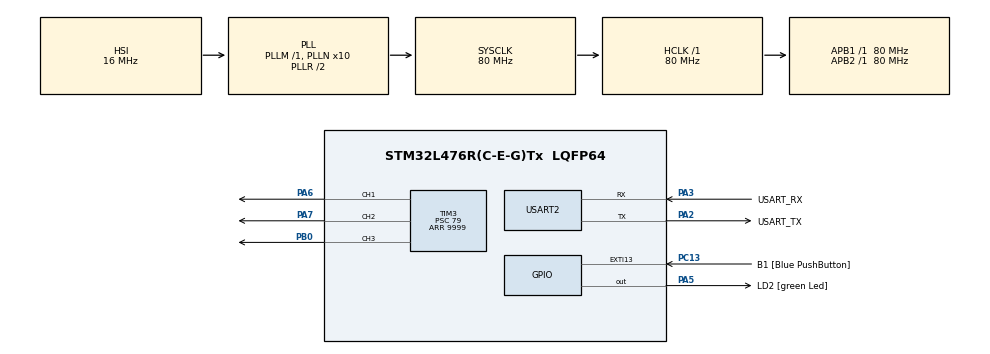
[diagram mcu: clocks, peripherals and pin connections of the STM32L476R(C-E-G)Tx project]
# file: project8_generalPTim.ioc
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Mcu.Family=STM32L4
Mcu.Name=STM32L476R(C-E-G)Tx
Mcu.Package=LQFP64
NVIC.PriorityGroup=NVIC_PRIORITYGROUP_4
NVIC.TIM3_IRQn=true\:9\:0\:true\:false\:true\:true\:true\:true
PA13\ (JTMS-SWDIO).GPIO_Label=TMS
PA13\ (JTMS-SWDIO).Mode=Serial_Wire
PA13\ (JTMS-SWDIO).Signal=SYS_JTMS-SWDIO
PA14\ (JTCK-SWCLK).GPIO_Label=TCK
PA14\ (JTCK-SWCLK).Mode=Serial_Wire
PA14\ (JTCK-SWCLK).Signal=SYS_JTCK-SWCLK
PA2.GPIO_Label=USART_TX
PA2.GPIO_Mode=GPIO_MODE_AF_PP
PA2.GPIO_PuPd=GPIO_NOPULL
PA2.GPIO_Speed=GPIO_SPEED_FREQ_VERY_HIGH
PA2.Mode=Asynchronous
PA2.Signal=USART2_TX
PA3.GPIO_Label=USART_RX
PA3.GPIO_Mode=GPIO_MODE_AF_PP
PA3.GPIO_PuPd=GPIO_NOPULL
PA3.GPIO_Speed=GPIO_SPEED_FREQ_VERY_HIGH
PA3.Mode=Asynchronous
PA3.Signal=USART2_RX
PA5.GPIO_Label=LD2 [green Led]
PA5.GPIO_ModeDefaultOutputPP=GPIO_MODE_OUTPUT_PP
PA5.GPIO_PuPd=GPIO_NOPULL
PA5.GPIO_Speed=GPIO_SPEED_FREQ_LOW
PA5.Signal=GPIO_Output
PA6.Signal=S_TIM3_CH1
PA7.Signal=S_TIM3_CH2
PB0.Signal=S_TIM3_CH3
PB3\ (JTDO-TRACESWO).GPIO_Label=SWO
PB3\ (JTDO-TRACESWO).Signal=SYS_JTDO-SWO
PC13.GPIO_Label=B1 [Blue PushButton]
PC13.GPIO_ModeDefaultEXTI=GPIO_MODE_IT_FALLING
PC13.GPIO_PuPd=GPIO_NOPULL
PC13.Signal=GPXTI13
PC14-OSC32_IN\ (PC14).Mode=LSE-External-Oscillator
PC14-OSC32_IN\ (PC14).Signal=RCC_OSC32_IN
PC15-OSC32_OUT\ (PC15).Mode=LSE-External-Oscillator
PC15-OSC32_OUT\ (PC15).Signal=RCC_OSC32_OUT
PH0-OSC_IN\ (PH0).Signal=RCC_OSC_IN
PH1-OSC_OUT\ (PH1).Signal=RCC_OSC_OUT
ProjectManager.HeapSize=0x200
ProjectManager.StackSize=0x400
ProjectManager.TargetToolchain=STM32CubeIDE
RCC.ADCFreq_Value=64000000
RCC.AHBFreq_Value=80000000
RCC.APB1Freq_Value=80000000
RCC.APB1TimFreq_Value=80000000
RCC.APB2Freq_Value=80000000
RCC.APB2TimFreq_Value=80000000
RCC.CortexFreq_Value=80000000
RCC.HCLKFreq_Value=80000000
RCC.HSE_VALUE=8000000
RCC.HSI_VALUE=16000000
RCC.MSI_VALUE=4000000
RCC.PLLN=10
RCC.PLLSourceVirtual=RCC_PLLSOURCE_HSI
RCC.PREFETCH_ENABLE=1
RCC.SYSCLKFreq_VALUE=80000000
RCC.SYSCLKSource=RCC_SYSCLKSOURCE_PLLCLK
RCC.USBFreq_Value=64000000
RCC.VCOOutputFreq_Value=160000000
SH.S_TIM3_CH1.0=TIM3_CH1,PWM Generation1 CH1
SH.S_TIM3_CH2.0=TIM3_CH2,PWM Generation2 CH2
SH.S_TIM3_CH3.0=TIM3_CH3,PWM Generation3 CH3
TIM3.Channel-PWM\ Generation1\ CH1=TIM_CHANNEL_1
TIM3.Channel-PWM\ Generation2\ CH2=TIM_CHANNEL_2
TIM3.Channel-PWM\ Generation3\ CH3=TIM_CHANNEL_3
TIM3.OCPolarity_1=TIM_OCPOLARITY_LOW
TIM3.OCPolarity_2=TIM_OCPOLARITY_LOW
TIM3.OCPolarity_3=TIM_OCPOLARITY_LOW
TIM3.Period=9999
TIM3.Prescaler=79
TIM3.Pulse-PWM\ Generation1\ CH1=50
TIM3.Pulse-PWM\ Generation2\ CH2=400
TIM3.Pulse-PWM\ Generation3\ CH3=2000
USART2.VirtualMode-Asynchronous=VM_ASYNC
VP_TIM3_VS_ClockSourceINT.Mode=Internal
board=NUCLEO-L476RG

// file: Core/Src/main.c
/* USER CODE BEGIN Header */
/**
  ******************************************************************************
  * @file           : main.c
  * @brief          : Main program body
  ******************************************************************************
  * @attention
  *
  * Copyright (c) 2024 STMicroelectronics.
  * All rights reserved.
  *
  * This software is licensed under terms that can be found in the LICENSE file
  * in the root directory of this software component.
  * If no LICENSE file comes with this software, it is provided AS-IS.
  *
  ******************************************************************************
  */
/* USER CODE END Header */
#include "main.h"

/* USER CODE BEGIN Includes */
#include "math.h"
/* USER CODE END Includes */

TIM_HandleTypeDef htim3;

UART_HandleTypeDef huart2;

void SystemClock_Config(void);
static void MX_GPIO_Init(void);
static void MX_USART2_UART_Init(void);
static void MX_TIM3_Init(void);

/* USER CODE BEGIN 0 */
float calc_pwm(float val)
{
    const float k = 0.13f;
    const float x0 = 70.0f;
    return 10000.0f / (1.0f + exp(-k * (val - x0)));
}

void HAL_TIM_PeriodElapsedCallback(TIM_HandleTypeDef *htim)
{
  if (htim == &htim3) {
    HAL_GPIO_TogglePin(LD2_GPIO_Port, LD2_Pin);
  }
}
/* USER CODE END 0 */

int main(void)
{

  /* MCU Configuration--------------------------------------------------------*/

  /* Reset of all peripherals, Initializes the Flash interface and the Systick. */
  HAL_Init();

  /* Configure the system clock */
  SystemClock_Config();

  /* Initialize all configured peripherals */
  MX_GPIO_Init();
  MX_USART2_UART_Init();
  MX_TIM3_Init();
  /* USER CODE BEGIN 2 */
  HAL_TIM_Base_Start_IT(&htim3);
  HAL_TIM_PWM_Start(&htim3, TIM_CHANNEL_1);
  HAL_TIM_PWM_Start(&htim3, TIM_CHANNEL_2);
  HAL_TIM_PWM_Start(&htim3, TIM_CHANNEL_3);
  /* USER CODE END 2 */

  /* Infinite loop */
  /* USER CODE BEGIN WHILE */
  uint32_t counter = 0;
  while (1)
  {
	  float r = 50 * (1.0f + sin(counter / 100.0f));
	  float g = 50 * (1.0f + sin(1.5f * counter / 100.0f));
	  float b = 50 * (1.0f + sin(2.0f * counter / 100.0f));
	  __HAL_TIM_SET_COMPARE(&htim3, TIM_CHANNEL_1, calc_pwm(b));
	  __HAL_TIM_SET_COMPARE(&htim3, TIM_CHANNEL_2, calc_pwm(g));
	  __HAL_TIM_SET_COMPARE(&htim3, TIM_CHANNEL_3, calc_pwm(r));

	  HAL_Delay(10);
	  counter++;
    /* USER CODE END WHILE */

  }
}

void SystemClock_Config(void)
{
  RCC_OscInitTypeDef RCC_OscInitStruct = {0};
  RCC_ClkInitTypeDef RCC_ClkInitStruct = {0};

  /** Configure the main internal regulator output voltage
  */
  if (HAL_PWREx_ControlVoltageScaling(PWR_REGULATOR_VOLTAGE_SCALE1) != HAL_OK)
  {
    Error_Handler();
  }

  /** Initializes the RCC Oscillators according to the specified parameters
  * in the RCC_OscInitTypeDef structure.
  */
  RCC_OscInitStruct.OscillatorType = RCC_OSCILLATORTYPE_HSI;
  RCC_OscInitStruct.HSIState = RCC_HSI_ON;
  RCC_OscInitStruct.HSICalibrationValue = RCC_HSICALIBRATION_DEFAULT;
  RCC_OscInitStruct.PLL.PLLState = RCC_PLL_ON;
  RCC_OscInitStruct.PLL.PLLSource = RCC_PLLSOURCE_HSI;
  RCC_OscInitStruct.PLL.PLLM = 1;
  RCC_OscInitStruct.PLL.PLLN = 10;
  RCC_OscInitStruct.PLL.PLLP = RCC_PLLP_DIV7;
  RCC_OscInitStruct.PLL.PLLQ = RCC_PLLQ_DIV2;
  RCC_OscInitStruct.PLL.PLLR = RCC_PLLR_DIV2;
  if (HAL_RCC_OscConfig(&RCC_OscInitStruct) != HAL_OK)
  {
    Error_Handler();
  }

  /** Initializes the CPU, AHB and APB buses clocks
  */
  RCC_ClkInitStruct.ClockType = RCC_CLOCKTYPE_HCLK|RCC_CLOCKTYPE_SYSCLK
                              |RCC_CLOCKTYPE_PCLK1|RCC_CLOCKTYPE_PCLK2;
  RCC_ClkInitStruct.SYSCLKSource = RCC_SYSCLKSOURCE_PLLCLK;
  RCC_ClkInitStruct.AHBCLKDivider = RCC_SYSCLK_DIV1;
  RCC_ClkInitStruct.APB1CLKDivider = RCC_HCLK_DIV1;
  RCC_ClkInitStruct.APB2CLKDivider = RCC_HCLK_DIV1;

  if (HAL_RCC_ClockConfig(&RCC_ClkInitStruct, FLASH_LATENCY_4) != HAL_OK)
  {
    Error_Handler();
  }
}

static void MX_TIM3_Init(void)
{

  TIM_ClockConfigTypeDef sClockSourceConfig = {0};
  TIM_MasterConfigTypeDef sMasterConfig = {0};
  TIM_OC_InitTypeDef sConfigOC = {0};

  htim3.Instance = TIM3;
  htim3.Init.Prescaler = 79;
  htim3.Init.CounterMode = TIM_COUNTERMODE_UP;
  htim3.Init.Period = 9999;
  htim3.Init.ClockDivision = TIM_CLOCKDIVISION_DIV1;
  htim3.Init.AutoReloadPreload = TIM_AUTORELOAD_PRELOAD_DISABLE;
  if (HAL_TIM_Base_Init(&htim3) != HAL_OK)
  {
    Error_Handler();
  }
  sClockSourceConfig.ClockSource = TIM_CLOCKSOURCE_INTERNAL;
  if (HAL_TIM_ConfigClockSource(&htim3, &sClockSourceConfig) != HAL_OK)
  {
    Error_Handler();
  }
  if (HAL_TIM_PWM_Init(&htim3) != HAL_OK)
  {
    Error_Handler();
  }
  sMasterConfig.MasterOutputTrigger = TIM_TRGO_RESET;
  sMasterConfig.MasterSlaveMode = TIM_MASTERSLAVEMODE_DISABLE;
  if (HAL_TIMEx_MasterConfigSynchronization(&htim3, &sMasterConfig) != HAL_OK)
  {
    Error_Handler();
  }
  sConfigOC.OCMode = TIM_OCMODE_PWM1;
  sConfigOC.Pulse = 50;
  sConfigOC.OCPolarity = TIM_OCPOLARITY_LOW;
  sConfigOC.OCFastMode = TIM_OCFAST_DISABLE;
  if (HAL_TIM_PWM_ConfigChannel(&htim3, &sConfigOC, TIM_CHANNEL_1) != HAL_OK)
  {
    Error_Handler();
  }
  sConfigOC.Pulse = 400;
  if (HAL_TIM_PWM_ConfigChannel(&htim3, &sConfigOC, TIM_CHANNEL_2) != HAL_OK)
  {
    Error_Handler();
  }
  sConfigOC.Pulse = 2000;
  if (HAL_TIM_PWM_ConfigChannel(&htim3, &sConfigOC, TIM_CHANNEL_3) != HAL_OK)
  {
    Error_Handler();
  }
  HAL_TIM_MspPostInit(&htim3);

}

static void MX_USART2_UART_Init(void)
{

  huart2.Instance = USART2;
  huart2.Init.BaudRate = 115200;
  huart2.Init.WordLength = UART_WORDLENGTH_8B;
  huart2.Init.StopBits = UART_STOPBITS_1;
  huart2.Init.Parity = UART_PARITY_NONE;
  huart2.Init.Mode = UART_MODE_TX_RX;
  huart2.Init.HwFlowCtl = UART_HWCONTROL_NONE;
  huart2.Init.OverSampling = UART_OVERSAMPLING_16;
  huart2.Init.OneBitSampling = UART_ONE_BIT_SAMPLE_DISABLE;
  huart2.AdvancedInit.AdvFeatureInit = UART_ADVFEATURE_NO_INIT;
  if (HAL_UART_Init(&huart2) != HAL_OK)
  {
    Error_Handler();
  }

}

static void MX_GPIO_Init(void)
{
  GPIO_InitTypeDef GPIO_InitStruct = {0};

  /* GPIO Ports Clock Enable */
  __HAL_RCC_GPIOC_CLK_ENABLE();
  __HAL_RCC_GPIOH_CLK_ENABLE();
  __HAL_RCC_GPIOA_CLK_ENABLE();
  __HAL_RCC_GPIOB_CLK_ENABLE();

  /*Configure GPIO pin Output Level */
  HAL_GPIO_WritePin(LD2_GPIO_Port, LD2_Pin, GPIO_PIN_RESET);

  /*Configure GPIO pin : B1_Pin */
  GPIO_InitStruct.Pin = B1_Pin;
  GPIO_InitStruct.Mode = GPIO_MODE_IT_FALLING;
  GPIO_InitStruct.Pull = GPIO_NOPULL;
  HAL_GPIO_Init(B1_GPIO_Port, &GPIO_InitStruct);

  /*Configure GPIO pin : LD2_Pin */
  GPIO_InitStruct.Pin = LD2_Pin;
  GPIO_InitStruct.Mode = GPIO_MODE_OUTPUT_PP;
  GPIO_InitStruct.Pull = GPIO_NOPULL;
  GPIO_InitStruct.Speed = GPIO_SPEED_FREQ_LOW;
  HAL_GPIO_Init(LD2_GPIO_Port, &GPIO_InitStruct);

}

void Error_Handler(void)
{
  __disable_irq();
  while (1)
  {
  }
}
